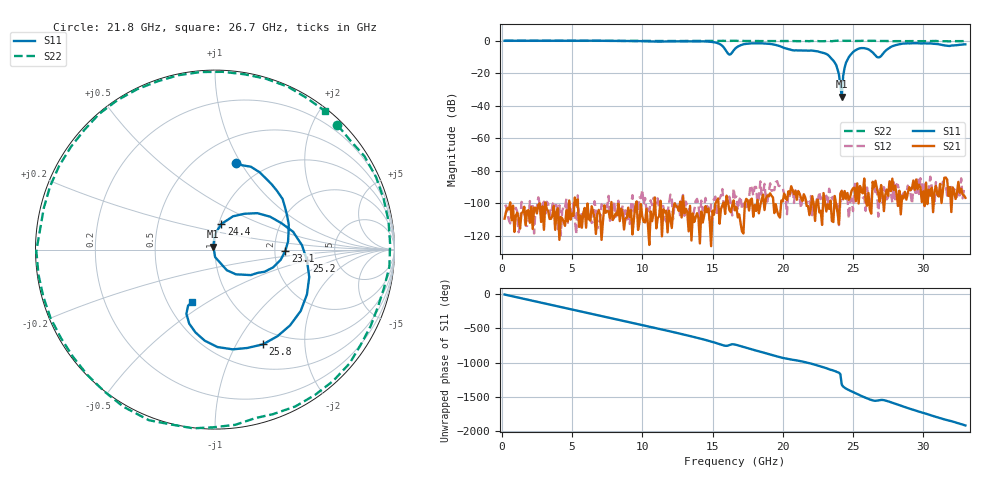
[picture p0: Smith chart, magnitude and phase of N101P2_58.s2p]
# GHZ S RI R 50
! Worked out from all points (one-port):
!   329 points, 200 MHz to 33 GHz, reference 50 ohm
!   lowest |S11| = -34.3 dB at 24.2 GHz (marker M1), VSWR 1.04, Z = 49 + j1.64 ohm
!   |S11| at or under -10 dB: 23.36 GHz to 24.71 GHz (1.35 GHz wide, 5.62 % of centre); 26.71 GHz to 26.91 GHz (202.3 MHz wide, 0.754 % of centre)
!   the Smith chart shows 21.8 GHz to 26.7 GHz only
!   S11 on the Smith chart (normalised r, x): 21.8 GHz: 0.75, +0.96; 23.1 GHz: 2.29, -0.04; 24.4 GHz: 1.03, +0.30; 25.2 GHz: 3.04, -0.50; 25.8 GHz: 0.80, -1.29; 26.7 GHz: 0.66, -0.43
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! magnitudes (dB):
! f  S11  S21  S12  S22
! 200 MHz  0.0  -109.3  -101.8  0.0
! 5.7 GHz  0.0  -114.9  -104.8  0.0
! 11.2 GHz  -0.6  -107.9  -103.6  -0.1
! 15.1 GHz  -0.9  -107.0  -97.5  -0.1
! 16.2 GHz  -8.6  -104.1  -95.8  -0.1
! 16.6 GHz  -5.0  -104.2  -96.4  -0.1
! 18.4 GHz  -1.6  -101.2  -86.4  -0.2
! 21.8 GHz  -6.1  -101.5  -99.1  -0.2
! 22.1 GHz  -6.1  -95.5  -107.3  -0.1
! 23.1 GHz  -8.1  -104.9  -95.2  -0.1
! 23.8 GHz  -14.9  -100.6  -101.9  0.0
! 24 GHz  -20.8  -112.8  -113.3  0.2
! 24.2 GHz  -34.3  -92.2  -97.9  0.0
! 24.3 GHz  -21.6  -97.4  -98.7  0.0
! 24.4 GHz  -16.7  -92.4  -92.9  -0.1
! 24.7 GHz  -10.1  -97.8  -109.2  -0.1
! 25.2 GHz  -5.7  -98.6  -86.4  -0.1
! 25.8 GHz  -4.6  -84.7  -96.0  -0.1
! 26.7 GHz  -10.0  -90.9  -89.8  -0.1
! 27.6 GHz  -4.3  -86.3  -93.9  -0.2
! 28.9 GHz  -1.6  -93.9  -89.0  -0.2
! 33 GHz  -2.2  -96.5  -91.4  -0.2
